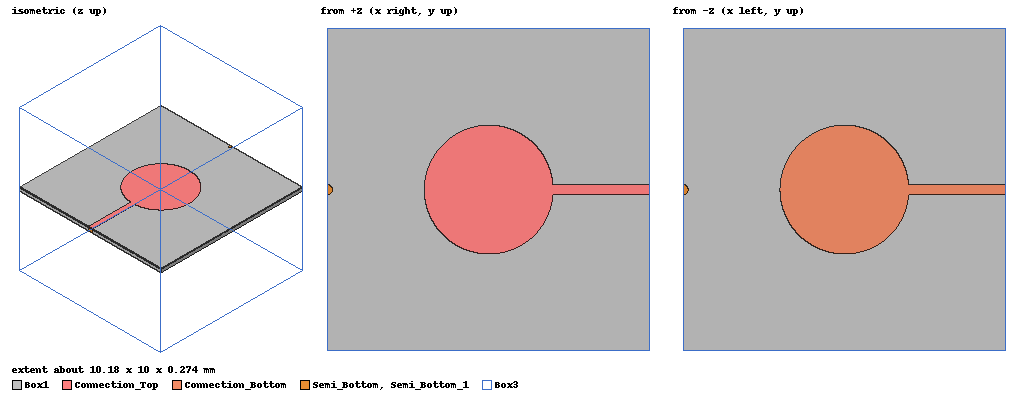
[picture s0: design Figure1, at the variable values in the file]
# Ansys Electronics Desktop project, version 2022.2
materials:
  vacuum: permittivity=1
  Rogers RT/duroid 5880 (tm): permittivity=2.2 dielectric_loss_tangent=0.0009
  copper: permeability=0.999991 conductivity=58000000
  air: permittivity=1.0006 permeability=1.0000004

design Figure1 (HFSS, DrivenTerminal, model units mm)
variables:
  Size = 10mm
  h = 0.254mm
  w0 = 0.3mm
  r0 = 2mm
  r1 = 0.15mm
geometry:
  Box1 [Rogers RT/duroid 5880 (tm)] = box(corner=(-Size/2, Size/2, 0mm), size=(Size, Size, h))
  Connection_Top [copper] = rectangle(corner=(0, Size-(w0/2), h), x_size=Size/2, y_size=w0)
  Semi_Bottom [copper] = cylinder(axis=Z, base_centre=(Size/2, Size, 0mm), radius=r1, height=h)
  Box2 = box(corner=(Size/2, Size-(r1), 0mm), size=(2*r1, 2*r1, h))
  Semi_Bottom.subtract(Box2)
  Circle1 = circle(normal=Z, centre=(0, Size, h), radius=r0)
  Connection_Top.unite(Circle1)
  coordinate_system RelativeCS1 = origin=(0mm, Size, h/2) x=(1mm, 0mm, 0mm) y=(0mm, 1mm, 0mm)
  Connection_Bottom [copper] = Connection_Top.duplicate_mirror(point=(0mm, 0mm, 0), normal=(0, 0, -1)) in RelativeCS1
  Connection_Bottom.rotate(axis=Z, angle=180deg) in RelativeCS1
  Semi_Bottom_1 [copper] = Semi_Bottom.duplicate_around_axis(axis=Z, angle=180deg, total=2) in RelativeCS1
  Semi_Bottom_1.move(0mm, 0mm, 0) in RelativeCS1
  [Connection_Top, Connection_Bottom].thicken(0.01mm)
  Box3 [air] = box(corner=(-Size/2, -Size/2, -Size/2), size=(Size, Size, Size)) in RelativeCS1

design Figure8 (HFSS, DrivenTerminal, model units mm)
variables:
  Size_SB = 4.3mm
  s0 = 0.3mm
  r0 = 1.02mm
  h0 = 0.254mm
  w1 = 0.12mm
  s3 = 0.26mm
  l3 = 0.96mm
  s1 = 0.2mm
  l2 = 1.18mm
  l1 = 1.28mm
  l0 = 1.52mm
  w0 = 0.06mm
  r1 = 0.2mm
  d1 = 0.2mm
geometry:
  Box1 [Rogers RT/duroid 5880 (tm)] = box(corner=(-Size_SB/2, -Size_SB/2, 0mm), size=(Size_SB, Size_SB, h0))
  Bottom_Red = circle(normal=Z, centre=(Size_SB/2-s0-r0, -Size_SB/2+s0+r0, h0), radius=r0)
  Rectangle1 = rectangle(corner=(Size_SB/2-s0-r0-w1/2, -Size_SB/2+s0+2*r0, h0), x_size=w1, y_size=s3+0.02mm)
  Rectangle1.move(0mm, -0.02mm, 0mm)
  Rectangle2 = rectangle(corner=(Size_SB/2-s0-r0-w1/2, -Size_SB/2+s0+2*r0+s3, h0), x_size=l3, y_size=w1)
  Rectangle3 = rectangle(corner=(Size_SB/2-s0-r0-w1/2+l3, -Size_SB/2+s0+2*r0+s3, h0), x_size=0.12mm, y_size=w1+s1)
  Rectangle4 = rectangle(corner=(Size_SB/2-s0-r0-w1/2+l3+w1, -Size_SB/2+s0+2*r0+s3+s1+w1, h0), x_size=-l2, y_size=w1)
  Rectangle5 = rectangle(corner=(Size_SB/2-s0-r0-w1/2+l3+w1-l2-w1, -Size_SB/2+s0+2*r0+s3+s1+w1, h0), x_size=w1, y_size=2*w1+s1)
  Rectangle6 = rectangle(corner=(Size_SB/2-s0-r0-w1/2+l3+w1-l2, -Size_SB/2+s0+2*r0+s3+2*s1+2*w1, h0), x_size=l2, y_size=w1)
  Rectangle7 = rectangle(corner=(Size_SB/2-s0-r0-w1/2+l3, -Size_SB/2+s0+2*r0+s3+2*s1+3*w1, h0), x_size=w1, y_size=s1)
  Rectangle8 = rectangle(corner=(Size_SB/2-s0-r0-w1/2+l3-l1+w1, -Size_SB/2+s0+2*r0+s3+3*s1+3*w1, h0), x_size=l1, y_size=w1)
  Rectangle9 = rectangle(corner=(Size_SB/2-s0-r0-w1/2+l3-l1, -Size_SB/2+s0+2*r0+s3+3*s1+3*w1, h0), x_size=w1, y_size=w1+s1)
  Rectangle10 = rectangle(corner=(Size_SB/2-s0-r0-w1/2+l3-l1, -Size_SB/2+s0+2*r0+s3+4*s1+4*w1, h0), x_size=l0+w1, y_size=w1)
  Rectangle11 = rectangle(corner=(Size_SB/2-s0-r0-w1/2+l3-l1+l0+w1, -Size_SB/2+s0+2*r0, h0), x_size=w0, y_size=s3+4*s1+5*w1)
  Circle1 = circle(normal=Z, centre=(Size_SB/2-s0-r0-w1/2+l3-l1+l0+w0, -Size_SB/2+s0+2*r0-r1, h0), radius=r1)
  Circle2 = circle(normal=Z, centre=(Size_SB/2-s0-r0-w1/2+l3-l1+l0+w0, -Size_SB/2+s0+2*r0-r1, h0), radius=d1/2)
  [Circle2, Circle1].move(1.27mm, -0.34mm, -0.004mm)
  Rectangle12 = rectangle(corner=(3.3mm, -0.55mm, 0.25mm), x_size=0.2mm, y_size=0.4mm)
  Rectangle12_1 = Rectangle12.copy()
  Circle1.subtract(Rectangle12_1)
  Circle2.subtract(Rectangle12)
  [Circle2, Circle1].move(-1.27mm, 0.34mm, 0.004mm)
  Circle1.move(w1, 0mm, 0mm)
  Circle2.move(0.12mm, 0.01mm, 0mm)
  Rectangle2.unite(Rectangle1, Rectangle3..Rectangle10, Bottom_Red)
  Rectangle2_1 = Rectangle2.duplicate_mirror(point=(-1.2mm, -0.2mm, h0), normal=(-1mm, 0mm, 0mm))
  Rectangle2_1.rotate(axis=Z, angle=180deg)
  Rectangle2_1.rotate(axis=Y, angle=180deg)
  Rectangle2_1.move(1.8mm, 0mm, 0mm)
  Polyline1 = polyline(z=0mm, xy in mm: (3.55, -0.1) (3.55, 0.5) (4.2, -0.05) (4.2, 0.6))
  Polyline3 = polyline((3.55mm, -0.1mm, 0mm) (3.66mm, -0.1mm, 0mm))
  Polyline3.sweep_along_path(Polyline1)
